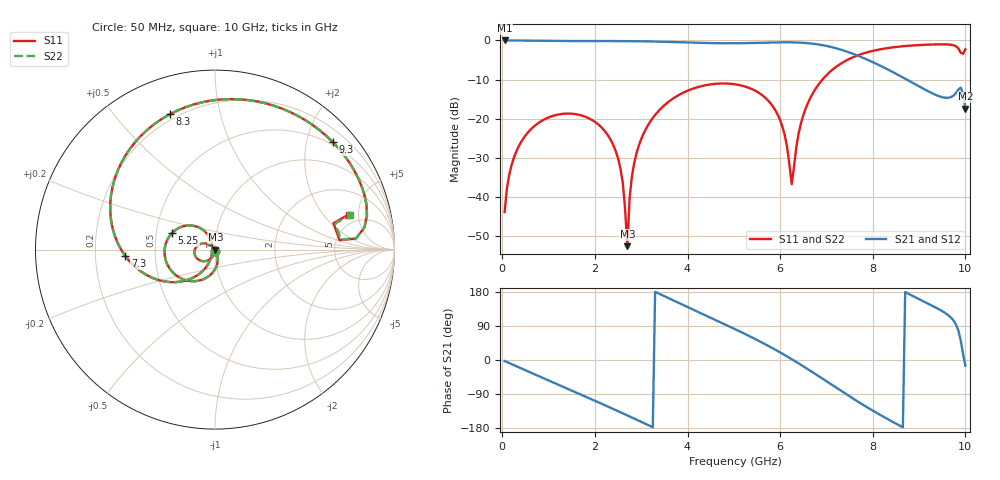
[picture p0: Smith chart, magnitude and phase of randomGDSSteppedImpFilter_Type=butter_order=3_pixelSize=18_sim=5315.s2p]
! freq	dB(S11)	phase(S11)	dB(S12)	phase(S12)
!  dB(S21)	phase(S21)	dB(S22)	phase(S22)
!S-par simulation data
#  GHz  S  DB  R 50
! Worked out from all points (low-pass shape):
!   200 points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, 50 MHz to 10 GHz, reference 50 ohm
!   highest |S21| = 0.00 dB at 50 MHz (marker M1); lowest = -17.5 dB at 10 GHz (marker M2)
!   |S21| within 3 dB of the highest: start of sweep to 7.478 GHz
!   lowest |S11| = -52.6 dB at 2.7 GHz (marker M3), VSWR 1.00, Z = 50.2 + j0.00931 ohm
!   |S11| at or under -10 dB: start of sweep to 6.914 GHz
!   |S22| runs from -52.7 to -1.0 dB; largest |S21 - S12| = 0
!   S11 on the Smith chart (normalised r, x): 50 MHz: 1.00, -0.01; 5.25 GHz: 0.60, +0.12; 7.3 GHz: 0.33, -0.03; 8.3 GHz: 0.17, +0.71; 9.3 GHz: 0.44, +2.52; 10 GHz: 3.94, +3.78
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0.05  -43.87 -92.2  -0.00 -2.7  -0.00 -2.7  -43.87 -92.2
0.2  -31.89 -100.8  -0.01 -10.9  -0.01 -10.9  -31.89 -100.8
0.55  -23.58 -120.1  -0.05 -29.8  -0.05 -29.8  -23.58 -120.1
1.75  -19.33 175.0  -0.16 -94.0  -0.16 -94.0  -19.32 175.1
2.45  -28.31 136.4  -0.16 -132.3  -0.16 -132.3  -28.31 136.8
2.6  -36.24 127.4  -0.17 -140.6  -0.17 -140.6  -36.24 128.1
2.7  -52.60 2.3  -0.17 -146.2  -0.17 -146.2  -52.68 1.4
2.75  -40.26 -57.9  -0.18 -149.0  -0.18 -149.0  -40.27 -59.0
2.85  -31.25 -64.8  -0.19 -154.7  -0.19 -154.7  -31.25 -65.1
3.4  -17.71 -96.3  -0.31 174.1  -0.31 174.1  -17.71 -96.3
5.05  -11.25 170.6  -0.71 80.1  -0.71 80.1  -11.25 170.7
5.25  -11.81 159.0  -0.68 68.2  -0.68 68.2  -11.81 159.1
5.95  -19.05 118.5  -0.50 23.5  -0.50 23.5  -19.05 118.7
6.25  -36.77 174.3  -0.49 2.2  -0.49 2.2  -36.52 174.7
6.45  -21.16 -115.1  -0.57 -12.8  -0.57 -12.8  -21.15 -115.3
6.7  -13.63 -129.2  -0.82 -32.2  -0.82 -32.2  -13.63 -129.3
7.3  -6.00 -175.9  -2.31 -80.3  -2.31 -80.3  -6.00 -175.9
8.3  -1.99 108.2  -7.27 -154.5  -7.27 -154.5  -1.99 108.2
8.35  -1.90 104.7  -7.58 -157.9  -7.58 -157.9  -1.90 104.7
9.3  -1.03 42.3  -13.60 142.2  -13.60 142.2  -1.02 42.2
9.9  -3.15 4.3  -12.07 51.0  -12.07 51.0  -3.06 4.5
10  -2.27 14.7  -17.47 -14.9  -17.47 -14.9  -2.22 14.2
